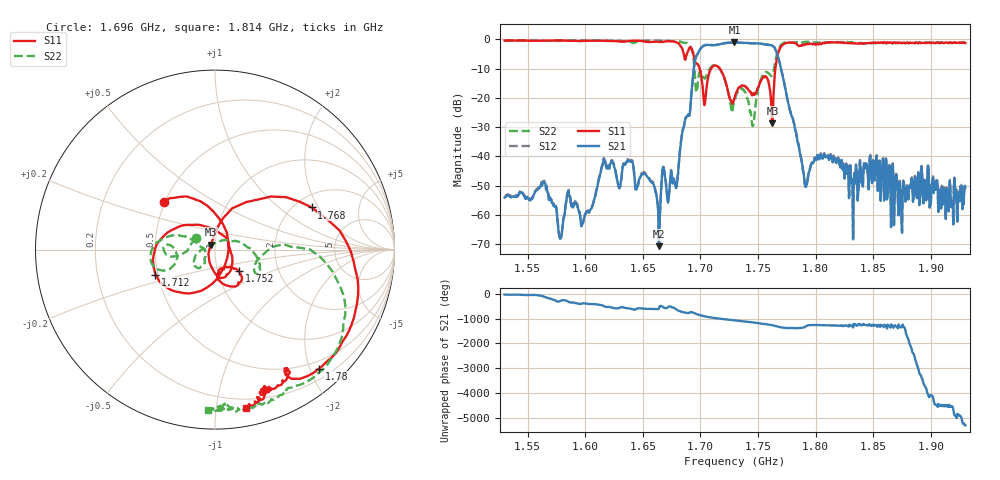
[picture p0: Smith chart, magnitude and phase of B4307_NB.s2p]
! Matrix data file written by TouchstoneData, EPCOS AG
! FILENAME: "B4307_02_NB.s2p_newformat"
! COMMENT: "(B4307_02_NB.s2p) Epcos AG 3/3/2011 4:02:42"
! INFO: nport=2, nfreq=801
! DATE: "Mon Mar 14 19:02:34 2011"
! USER: "Michael Schemies"
! port | pin | signal
!  1  |  1  |  in
!  2  |  4  |  out
# MHZ S MA R 50
! freq  magS11 angS11  magS21 angS21  magS12 angS12  magS22 angS22
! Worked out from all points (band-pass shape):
!   801 points, 1.53 GHz to 1.93 GHz, reference 50 ohm
!   highest |S21| = -1.03 dB at 1.73 GHz (marker M1); lowest = -70.6 dB at 1.664 GHz (marker M2)
!   |S21| within 3 dB of the highest: 1.699 GHz to 1.766 GHz (67.22 MHz wide, 3.88 % of centre)
!   lowest |S11| = -28.6 dB at 1.762 GHz (marker M3), VSWR 1.08, Z = 47.6 + j2.69 ohm
!   |S11| at or under -10 dB: 1.699 GHz to 1.709 GHz (9.903 MHz wide, 0.581 % of centre); 1.717 GHz to 1.765 GHz (48.07 MHz wide, 2.76 % of centre)
!   |S22| runs from -29.6 to -0.4 dB; largest |S21 - S12| = 0.0018
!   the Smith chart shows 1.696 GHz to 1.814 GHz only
!   S11 on the Smith chart (normalised r, x): 1.696 GHz: 0.49, +0.31; 1.712 GHz: 0.49, -0.16; 1.752 GHz: 1.26, -0.31; 1.768 GHz: 2.44, +1.75; 1.78 GHz: 0.37, -2.15; 1.814 GHz: 0.13, -1.20
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1530  0.9528 -117.1  0.00199 -21.9  0.002111 -21.2  0.9588 -124.5
1597  0.9372 -127.6  0.0006486 -23.1  0.0006881 -21.5  0.9543 -133.7
1616  0.946 -133.3  0.009102 -124.5  0.009493 -124.4  0.9383 -138.8
1663.5  0.9073 -156.4  0.0008833 106.7  0.0009064 108.5  0.9492 -156.8
1664  0.9035 -156.6  0.0002938 142.0  0.0003088 143.8  0.9487 -157.2
1668  0.91 -159.3  0.006373 176.4  0.006623 176.7  0.943 -160.7
1679.5  0.8859 176.0  0.003218 77.9  0.003383 78.3  0.9329 -175.8
1696.5  0.3887 136.5  0.5232 -90.5  0.5229 -90.4  0.1231 149.6
1703.5  0.07537 -1.3  0.7888 179.6  0.7884 179.7  0.2158 -174.1
1712.5  0.3597 -157.2  0.8 108.3  0.7992 108.3  0.3633 -172.6
1729.5  0.09946 -18.6  0.8879 13.5  0.8875 13.6  0.08372 -133.2
1730  0.1081 -26.3  0.8862 10.8  0.8857 10.9  0.09188 -127.6
1745  0.1104 -70.4  0.8587 -65.9  0.8583 -65.8  0.03379 126.8
1751.5  0.1793 -42.1  0.8458 -103.0  0.8455 -102.9  0.1801 4.2
1762.5  0.03708 130.4  0.7752 174.7  0.7747 174.8  0.2501 -11.2
1767.5  0.5878 23.6  0.4865 115.3  0.4864 115.3  0.6653 -10.5
1780  0.8804 -48.8  0.04565 65.3  0.04569 65.3  0.8709 -62.1
1791  0.831 -62.1  0.003044 120.8  0.003161 121.0  0.8976 -77.8
1797  0.8338 -69.1  0.007595 -176.0  0.007919 -176.0  0.889 -83.6
1814  0.8996 -79.0  0.009714 165.6  0.01014 165.6  0.8965 -92.5
1863.5  0.8682 -95.4  0.005399 162.2  0.005621 162.3  0.8831 -106.4
1930  0.8662 -103.5  0.00294 81.0  0.003061 80.9  0.8799 -112.2
